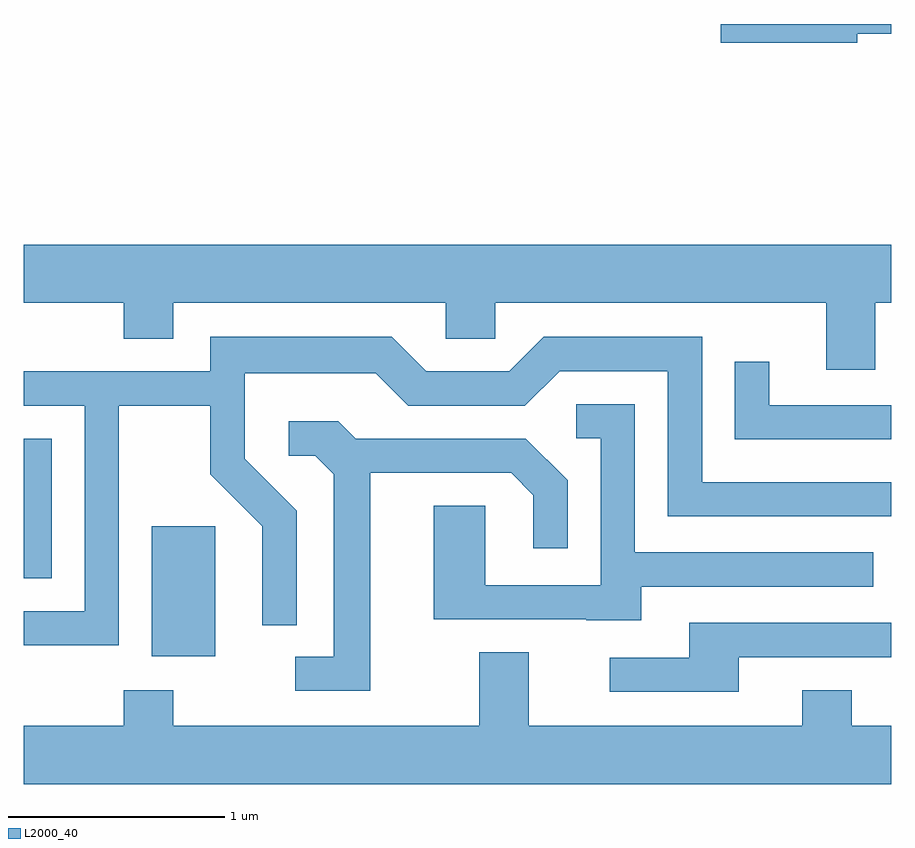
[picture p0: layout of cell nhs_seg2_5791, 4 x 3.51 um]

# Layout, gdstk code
import gdstk
lib = gdstk.Library(unit=1e-6, precision=1e-09)
def R(c, l, rs):  # rectangles x0, y0, x1, y1
    for r in rs: c.add(gdstk.rectangle(r[:2], r[2:], *l))
def P(c, l, *ps):  # polygons
    for p in ps: c.add(gdstk.Polygon(p, *l))
L2000_40 = (2000, 40)

nhs_seg2_5791 = lib.new_cell('nhs_seg2_5791')
R(nhs_seg2_5791, L2000_40, [(356.201,1068.886,356.494,1069.484), (355.611,1069.246,355.739,1069.889)])
P(nhs_seg2_5791, L2000_40, [(359.454,1071.756),(359.611,1071.756),(359.611,1071.802),(358.826,1071.802),(358.826,1071.716),(359.454,1071.716)],
  [(359.539,1070.516),(359.611,1070.516),(359.611,1070.784),(355.611,1070.784),(355.611,1070.516),(356.071,1070.516),(356.071,1070.351),(356.299,1070.351),(356.299,1070.516),(357.556,1070.516),(357.556,1070.351),(357.784,1070.351),(357.784,1070.516),(359.311,1070.516),(359.311,1070.206),(359.539,1070.206)],
  [(356.049,1070.041),(356.471,1070.041),(356.471,1069.724),(356.711,1069.484),(356.711,1069.028),(356.869,1069.028),(356.869,1069.557),(356.629,1069.797),(356.629,1070.191),(357.234,1070.191),(357.384,1070.041),(357.922,1070.041),(358.082,1070.201),(358.581,1070.201),(358.581,1069.531),(359.611,1069.531),(359.611,1069.689),(358.739,1069.689),(358.739,1070.359),(358.009,1070.359),(357.849,1070.199),(357.467,1070.199),(357.307,1070.359),(356.471,1070.359),(356.471,1070.199),(355.611,1070.199),(355.611,1070.041),(355.891,1070.041),(355.891,1069.094),(355.611,1069.094),(355.611,1068.936),(356.049,1068.936)],
  [(359.611,1070.044),(359.049,1070.044),(359.049,1070.243),(358.891,1070.243),(358.891,1069.886),(359.611,1069.886)],
  [(358.459,1069.206),(359.528,1069.206),(359.528,1069.364),(358.429,1069.364),(358.429,1070.049),(358.158,1070.049),(358.158,1069.891),(358.271,1069.891),(358.271,1069.214),(357.739,1069.214),(357.739,1069.579),(357.501,1069.579),(357.501,1069.056),(358.205,1069.056),(358.205,1069.051),(358.459,1069.051)],
  [(357.209,1069.731),(357.859,1069.731),(357.961,1069.629),(357.961,1069.383),(358.119,1069.383),(358.119,1069.697),(357.927,1069.889),(357.142,1069.889),(357.062,1069.969),(356.833,1069.969),(356.833,1069.811),(356.954,1069.811),(357.041,1069.724),(357.041,1068.884),(356.863,1068.884),(356.863,1068.726),(357.209,1068.726)],
  [(358.909,1068.881),(359.611,1068.881),(359.611,1069.039),(358.681,1069.039),(358.681,1068.879),(358.313,1068.879),(358.313,1068.721),(358.909,1068.721)],
  [(359.611,1068.564),(359.429,1068.564),(359.429,1068.729),(359.201,1068.729),(359.201,1068.564),(357.939,1068.564),(357.939,1068.904),(357.711,1068.904),(357.711,1068.564),(356.299,1068.564),(356.299,1068.729),(356.071,1068.729),(356.071,1068.564),(355.611,1068.564),(355.611,1068.296),(359.611,1068.296)])

lib.write_gds('nhs_seg2_5791.gds')
